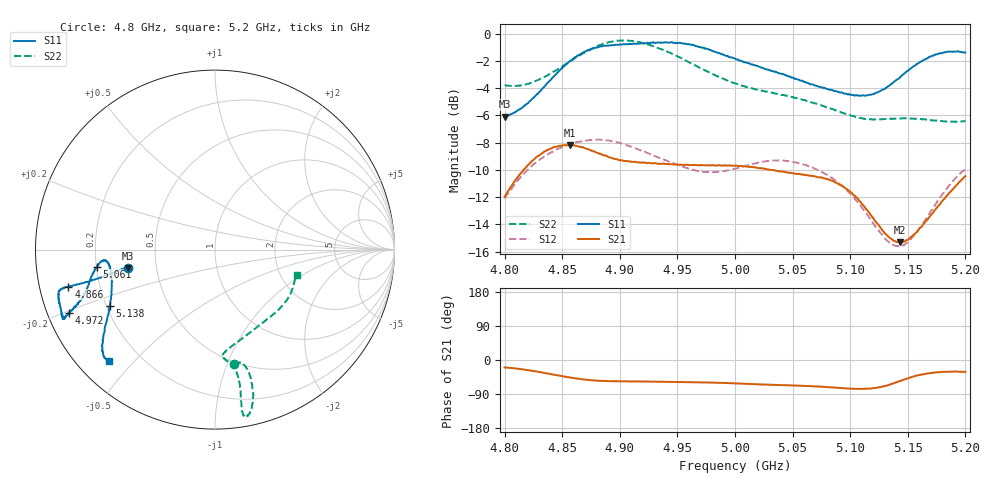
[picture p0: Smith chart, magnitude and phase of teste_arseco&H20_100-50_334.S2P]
! Network Analyzer HP8722D
! Hewlett-Packard
! Data name: Linha & Wilkinson
! Saver's name: Rodrigo Anjos
! Comments: Teste da utilização de aquisição
! continua pelo VNA HP8722D
! Time and date: 6/5/2025 15:21
!  Frequency  S11  S21  S12  S22
# HZ  S  MA R 50
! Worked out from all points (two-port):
!   401 points, 4.8 GHz to 5.2 GHz, reference 50 ohm
!   highest |S21| = -8.18 dB at 4.857 GHz (marker M1); lowest = -15.3 dB at 5.143 GHz (marker M2)
!   |S21| within 3 dB of the highest: 4.806 GHz to 5.093 GHz (287 MHz wide, 5.8 % of centre); 5.191739 GHz to end of sweep
!   lowest |S11| = -6.1 dB at 4.8 GHz (marker M3), VSWR 2.97, Z = 17 - j4.59 ohm
!   |S11| at or under -10 dB: nowhere
!   |S22| runs from -6.5 to -0.5 dB; largest |S21 - S12| = 0.62
!   S11 on the Smith chart (normalised r, x): 4.8 GHz: 0.34, -0.09; 4.866 GHz: 0.09, -0.12; 4.972 GHz: 0.06, -0.21; 5.061 GHz: 0.20, -0.07; 5.138 GHz: 0.21, -0.24; 5.2 GHz: 0.09, -0.43
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4.8e9  0.4967 -168.2  0.2516 -19.5  0.2483 -140.8  0.6473 -80.3
4.828e9  0.5999 -167.0  0.3538 -30.5  0.3382 -144.8  0.6741 -75.4
4.857e9  0.795 -165.9  0.3901 -46.3  0.3933 -150.1  0.7926 -74.8
4.866e9  0.8421 -165.8  0.3835 -50.3  0.402 -151.7  0.8371 -75.2
4.867e9  0.8479 -165.9  0.3842 -50.8  0.4025 -151.9  0.843 -75.3
4.884e9  0.8992 -165.0  0.3609 -55.3  0.4077 -154.8  0.9129 -77.2
4.899e9  0.9106 -162.8  0.3439 -56.4  0.3984 -156.6  0.9436 -78.9
4.934e9  0.9292 -156.4  0.3329 -57.4  0.3503 -155.6  0.8836 -80.4
4.953e9  0.9248 -155.5  0.3305 -58.0  0.326 -152.0  0.816 -79.9
4.972e9  0.888 -156.6  0.3294 -59.0  0.3114 -146.2  0.7413 -79.7
5e9  0.8114 -159.0  0.3275 -61.7  0.3197 -137.2  0.6576 -81.3
5.036e9  0.7233 -165.6  0.3138 -65.9  0.3418 -134.3  0.6025 -85.6
5.061e9  0.6651 -171.8  0.3031 -68.2  0.3301 -136.2  0.5702 -84.0
5.067e9  0.6516 -173.1  0.3007 -69.0  0.323 -136.6  0.5593 -82.6
5.086e9  0.616 -174.4  0.2863 -72.6  0.2913 -138.3  0.526 -75.3
5.104e9  0.5926 -170.9  0.2536 -76.1  0.2478 -138.5  0.4966 -64.8
5.134e9  0.6451 -154.2  0.1784 -65.2  0.1708 -120.9  0.4874 -43.3
5.138e9  0.666 -151.9  0.1735 -61.1  0.1673 -115.7  0.4871 -40.9
5.143e9  0.6893 -149.2  0.1712 -55.8  0.1659 -109.1  0.4886 -38.0
5.154e9  0.755 -144.5  0.1808 -44.4  0.1788 -95.0  0.4877 -32.4
5.174e9  0.839 -138.5  0.2262 -32.7  0.2359 -80.3  0.4798 -23.9
5.2e9  0.8538 -133.5  0.3 -31.2  0.3189 -76.8  0.4775 -17.5
